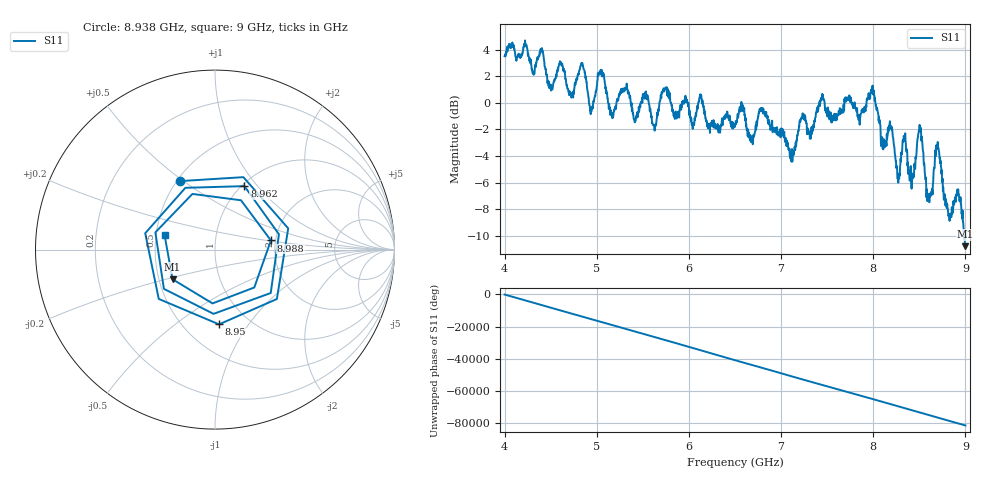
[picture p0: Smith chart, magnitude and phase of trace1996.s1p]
! Created with skrf 1.8.0 (http://scikit-rf.org).
# Hz S RI R 50.0
!freq ReS11 ImS11
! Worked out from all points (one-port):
!   1601 points, 4 GHz to 9 GHz, reference 50 ohm
!   lowest |S11| = -10.8 dB at 8.997 GHz (marker M1), VSWR 1.81, Z = 29.4 - j10.6 ohm
!   |S11| at or under -10 dB: 8.983286 GHz to end of sweep
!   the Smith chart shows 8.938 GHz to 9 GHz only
!   S11 on the Smith chart (normalised r, x): 8.938 GHz: 0.52, +0.49; 8.95 GHz: 0.73, -0.74; 8.962 GHz: 1.03, +0.86; 8.988 GHz: 1.89, +0.21; 9 GHz: 0.56, +0.10
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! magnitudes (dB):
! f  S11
! 4 GHz  3.5
! 4.625 GHz  2.9
! 4.725 GHz  0.4
! 4.847 GHz  2.8
! 4.941 GHz  -0.7
! 5.038 GHz  2.1
! 5.156 GHz  -0.8
! 5.25 GHz  0.6
! 5.875 GHz  -1.0
! 6.5 GHz  -1.8
! 6.791 GHz  -0.5
! 7.125 GHz  -4.0
! 7.438 GHz  0.3
! 7.75 GHz  0.1
! 7.994 GHz  1.3
! 8.106 GHz  -3.2
! 8.375 GHz  -4.5
! 8.431 GHz  -5.3
! 8.506 GHz  -1.9
! 8.603 GHz  -6.9
! 8.697 GHz  -3.4
! 8.822 GHz  -8.6
! 8.938 GHz  -7.4
! 8.95 GHz  -7.6
! 8.962 GHz  -8.2
! 8.988 GHz  -10.0
! 8.997 GHz  -10.8
! 9 GHz  -10.7
